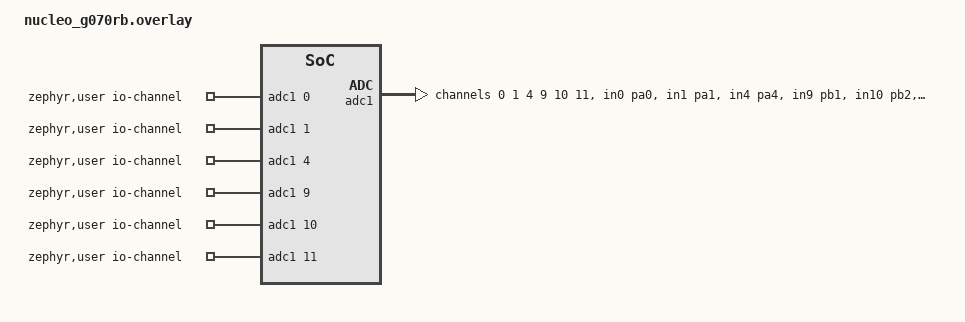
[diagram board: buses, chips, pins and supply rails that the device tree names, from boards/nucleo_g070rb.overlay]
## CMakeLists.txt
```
cmake_minimum_required(VERSION 3.20.0)
find_package(Zephyr REQUIRED HINTS $ENV{ZEPHYR_BASE})

project(adc_inp5_pa8)

target_sources(app PRIVATE src/main.c)
```

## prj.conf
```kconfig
# ── Core ADC ─────────────────────────────────────────────────────────────────
CONFIG_ADC=y

# ── Serial console (USART1, 115200 8N1 on NUCLEO-N657X0-Q) ───────────────────
CONFIG_SERIAL=y
CONFIG_UART_INTERRUPT_DRIVEN=y
CONFIG_CONSOLE=y
CONFIG_UART_CONSOLE=y

# ── Heap / stack sizes (defaults are fine for this sample) ───────────────────
CONFIG_MAIN_STACK_SIZE=2048
CONFIG_ADC_LOG_LEVEL_DBG=y
CONFIG_CBPRINTF_FP_SUPPORT=y
```

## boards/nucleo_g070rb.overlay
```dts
/ {
	zephyr,user {
		io-channels = <&adc1 0>, <&adc1 1>, <&adc1 4>,
			      <&adc1 9>, <&adc1 10>, <&adc1 11>;
	};
};

&adc1 {
	pinctrl-0 = <&adc1_in0_pa0 &adc1_in1_pa1 &adc1_in4_pa4
		     &adc1_in9_pb1 &adc1_in10_pb2 &adc1_in11_pb10>;
	pinctrl-names = "default";
	st,adc-clock-source = "SYNC";
	st,adc-prescaler = <4>;
	#address-cells = <1>;
	#size-cells = <0>;

	channel@0 {
		reg = <0>;
		zephyr,gain = "ADC_GAIN_1";
		zephyr,reference = "ADC_REF_INTERNAL";
		zephyr,acquisition-time = <ADC_ACQ_TIME_DEFAULT>;
		zephyr,resolution = <12>;
	};
	channel@1 {
		reg = <1>;
		zephyr,gain = "ADC_GAIN_1";
		zephyr,reference = "ADC_REF_INTERNAL";
		zephyr,acquisition-time = <ADC_ACQ_TIME_DEFAULT>;
		zephyr,resolution = <12>;
	};
	channel@4 {
		reg = <4>;
		zephyr,gain = "ADC_GAIN_1";
		zephyr,reference = "ADC_REF_INTERNAL";
		zephyr,acquisition-time = <ADC_ACQ_TIME_DEFAULT>;
		zephyr,resolution = <12>;
	};
	channel@9 {
		reg = <9>;
		zephyr,gain = "ADC_GAIN_1";
		zephyr,reference = "ADC_REF_INTERNAL";
		zephyr,acquisition-time = <ADC_ACQ_TIME_DEFAULT>;
		zephyr,resolution = <12>;
	};
	channel@10 {
		reg = <10>;
		zephyr,gain = "ADC_GAIN_1";
		zephyr,reference = "ADC_REF_INTERNAL";
		zephyr,acquisition-time = <ADC_ACQ_TIME_DEFAULT>;
		zephyr,resolution = <12>;
	};
	channel@11 {
		reg = <11>;
		zephyr,gain = "ADC_GAIN_1";
		zephyr,reference = "ADC_REF_INTERNAL";
		zephyr,acquisition-time = <ADC_ACQ_TIME_DEFAULT>;
		zephyr,resolution = <12>;
	};

	status = "okay";
};
```

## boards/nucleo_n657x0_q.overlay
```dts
/ {
    zephyr,user {
        io-channels = <&adc1 5>, 
                      <&adc1 10>, 
                      <&adc1 11>, 
                      <&adc1 13>, 
                      <&adc1 16>, 
                      <&adc1 7>; 
    };
};

&adc1 {
    clocks = <&rcc STM32_CLOCK(AHB1, 5)>, <&rcc STM32_SRC_CKPER ADC12_SEL(1)>;
    clock-names = "adcx", "adc_ker";
    pinctrl-0 = <&adc1_inp5_pa8 &adc1_inp10_pa9 &adc1_inp11_pa10 &adc1_inp13_pa12 &adc1_inp16_pf3 &adc1_inp7_pg15>;
    pinctrl-names = "default";
    vref-mv = <1800>;
    #address-cells = <1>;
    #size-cells = <0>;
    status = "okay";

    channel@5 {
        reg = <5>;
        zephyr,gain             = "ADC_GAIN_1";
        zephyr,reference        = "ADC_REF_INTERNAL";
        zephyr,acquisition-time = <ADC_ACQ_TIME_DEFAULT>;
        zephyr,resolution       = <12>;
    };

    channel@a {
        reg = <10>;
        zephyr,gain             = "ADC_GAIN_1";
        zephyr,reference        = "ADC_REF_INTERNAL";
        zephyr,acquisition-time = <ADC_ACQ_TIME_DEFAULT>;
        zephyr,resolution       = <12>;
    };

    channel@b {
        reg = <11>;
        zephyr,gain             = "ADC_GAIN_1";
        zephyr,reference        = "ADC_REF_INTERNAL";
        zephyr,acquisition-time = <ADC_ACQ_TIME_DEFAULT>;
        zephyr,resolution       = <12>;
    };

    channel@d {
        reg = <13>;
        zephyr,gain             = "ADC_GAIN_1";
        zephyr,reference        = "ADC_REF_INTERNAL";
        zephyr,acquisition-time = <ADC_ACQ_TIME_DEFAULT>;
        zephyr,resolution       = <12>;
    };

    channel@10 {
        reg = <16>;
        zephyr,gain             = "ADC_GAIN_1";
        zephyr,reference        = "ADC_REF_INTERNAL";
        zephyr,acquisition-time = <ADC_ACQ_TIME_DEFAULT>;
        zephyr,resolution       = <12>;
    };

    channel@7 {
        reg = <7>;
        zephyr,gain             = "ADC_GAIN_1";
        zephyr,reference        = "ADC_REF_INTERNAL";
        zephyr,acquisition-time = <ADC_ACQ_TIME_DEFAULT>;
        zephyr,resolution       = <12>;
    };
};
```

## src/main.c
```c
#include <zephyr/kernel.h>
#include <zephyr/device.h>
#include <zephyr/drivers/adc.h>
#include <zephyr/logging/log.h>

#define NUM_CHANNELS 6

static const struct adc_dt_spec adc_ch[NUM_CHANNELS] = {
    ADC_DT_SPEC_GET_BY_IDX(DT_PATH(zephyr_user), 0),  /* INP5  PA8  */
    ADC_DT_SPEC_GET_BY_IDX(DT_PATH(zephyr_user), 1),  /* INP10 PA9  */
    ADC_DT_SPEC_GET_BY_IDX(DT_PATH(zephyr_user), 2),  /* INP11 PA10 */
    ADC_DT_SPEC_GET_BY_IDX(DT_PATH(zephyr_user), 3),  /* INP13 PA12 */
    ADC_DT_SPEC_GET_BY_IDX(DT_PATH(zephyr_user), 4),  /* INP16 PF3  */
    ADC_DT_SPEC_GET_BY_IDX(DT_PATH(zephyr_user), 5),  /* INP7  PG15 */
};

/* Calibration:
 * Raw = 2007 --> 3.3 V
 * Raw = 2935 --> 5.0 V
 */
static int32_t calibrated_mv(uint16_t raw)
{
    return 3300 + ((int32_t)(raw - 2007) * 1700) / (2935 - 2007);
}

int main(void)
{
    int ret;
    uint32_t buf;
    uint16_t raw;
    int32_t voltage_mv;

    struct adc_sequence seq = {
        .buffer = &buf,
        .buffer_size = sizeof(buf),
    };

    int i;

    /* Configure ADC channels */
    for (i = 0; i < NUM_CHANNELS; i++) {
        ret = adc_channel_setup_dt(&adc_ch[i]);
        if (ret < 0) {
            printk("Channel %d setup failed: %d\n", i, ret);
            return ret;
        }
    }

    while (1) {
        for (i = 0; i < NUM_CHANNELS; i++) {

            adc_sequence_init_dt(&adc_ch[i], &seq);

            ret = adc_read_dt(&adc_ch[i], &seq);
            if (ret < 0) {
                printk("Channel %d read failed: %d\n", i, ret);
                continue;
            }

            raw = (uint16_t)(buf & 0xFFFF);

            /* Apply calibration */
            voltage_mv = calibrated_mv(raw);

            printk("CH%d : %.3f V\n", i, voltage_mv / 1000.0);
        }

        printk("\n");
        k_sleep(K_MSEC(500));
    }

    return 0;
}
```
